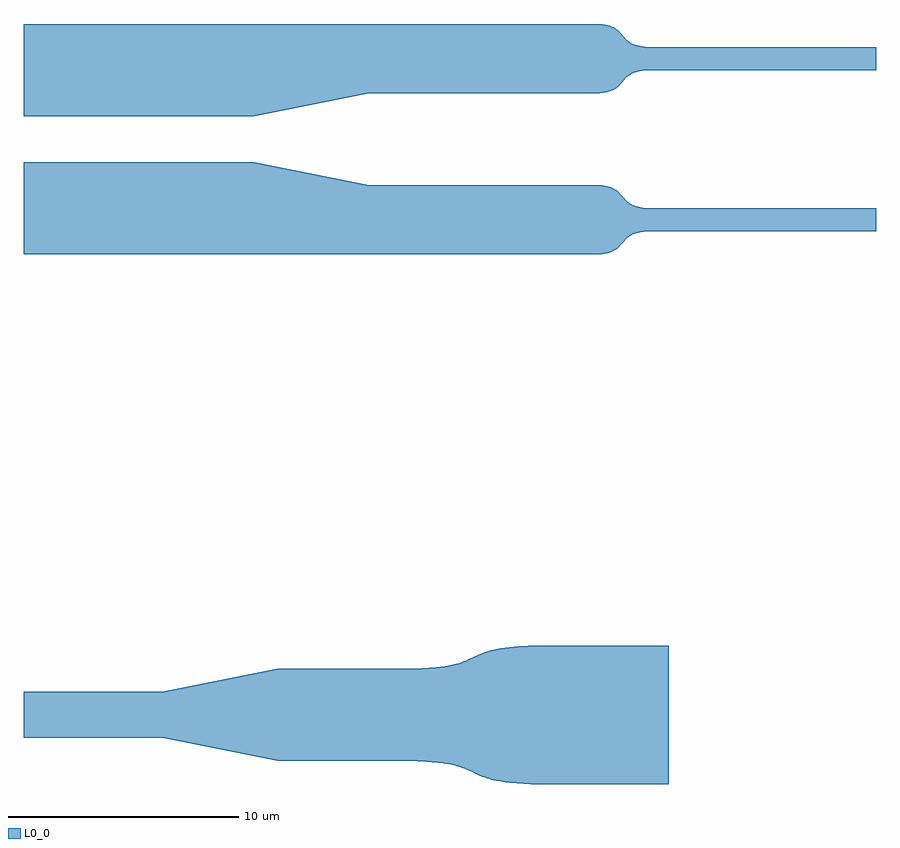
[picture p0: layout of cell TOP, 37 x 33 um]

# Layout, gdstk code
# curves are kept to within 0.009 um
import gdstk
lib = gdstk.Library(unit=1e-6, precision=1e-09)
def R(c, l, rs):  # rectangles x0, y0, x1, y1
    for r in rs: c.add(gdstk.rectangle(r[:2], r[2:], *l))
def P(c, l, *ps):  # polygons
    for p in ps: c.add(gdstk.Polygon(p, *l))
L0_0 = (0, 0)

top = lib.new_cell('TOP')
R(top, L0_0, [(22,-3,28,3), (11,-2,17,2), (0,-1,6,1), (0,20,10,24), (15,20,25,23), (27,21,37,22), (0,26,10,30), (15,27,25,30), (27,28,37,29)])
P(top, L0_0, [(6,-1),(11,-2),(11,2),(6,1)],
  [(17,2),(17.9,2.063),(18.5,2.149),(18.8,2.22),(19,2.284),(19.9,2.679),(20.3,2.806),(20.6,2.869),(21,2.926),(22,3),(22,-3),(21.1,-2.937),(20.5,-2.851),(20.2,-2.78),(20,-2.716),(19.1,-2.321),(18.7,-2.194),(18.4,-2.131),(18,-2.074),(17,-2)],
  [(10,26),(15,27),(15,30),(10,30)],
  [(10,24),(15,23),(15,20),(10,20)],
  [(25,30),(25.36,29.937),(25.6,29.851),(25.8,29.716),(26.16,29.321),(26.32,29.194),(26.44,29.131),(26.6,29.074),(27,29),(27,28),(26.64,27.937),(26.4,27.851),(26.2,27.716),(25.84,27.321),(25.68,27.194),(25.56,27.131),(25.4,27.074),(25,27)],
  [(25,20),(25.36,20.063),(25.6,20.149),(25.8,20.284),(26.16,20.679),(26.32,20.806),(26.44,20.869),(26.6,20.926),(27,21),(27,22),(26.64,22.063),(26.4,22.149),(26.2,22.284),(25.84,22.679),(25.68,22.806),(25.56,22.869),(25.4,22.926),(25,23)])

lib.write_gds('TOP.gds')
